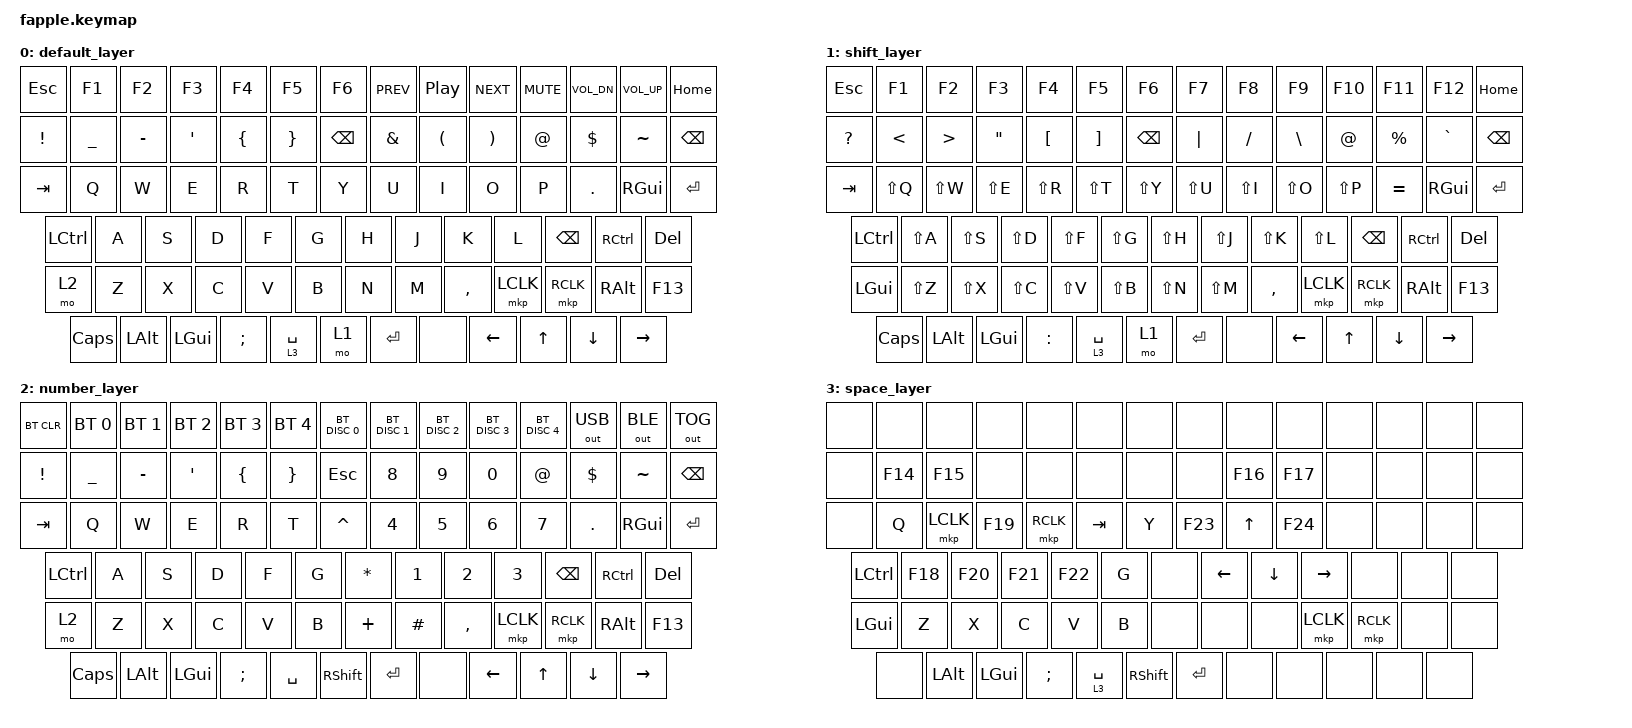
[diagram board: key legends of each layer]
#include <behaviors.dtsi>
#include <dt-bindings/zmk/keys.h>
#include <dt-bindings/zmk/bt.h>
#include <dt-bindings/zmk/outputs.h>
#include <dt-bindings/zmk/mouse.h>

&lt {
    tapping-term-ms = <300>;
};
/ {
    keymap {
        compatible = "zmk,keymap";

        default_layer {
            bindings = <
&kp ESC	&kp F1	&kp F2	&kp F3	&kp F4	&kp F5	&kp F6	&kp C_PREV	&kp C_PLAY_PAUSE	&kp C_NEXT	&kp C_MUTE	 &kp C_VOL_DN	&kp C_VOL_UP		&kp HOME
&kp EXCL	&kp UNDERSCORE	&kp MINUS	&kp APOS	&kp LBRC	&kp RBRC	&kp BACKSPACE	&kp AMPS	&kp LPAR	&kp RPAR	&kp AT	&kp DLLR	&kp TILDE	&kp BACKSPACE
&kp TAB	&kp Q	&kp W	&kp E	&kp R	&kp T	&kp Y	&kp U	&kp I	&kp O	&kp P	&kp DOT	&kp RGUI	&kp ENTER
&kp LCTRL	&kp A	&kp S	&kp D	&kp F	&kp G	&kp H	&kp J	&kp K	&kp L	&kp BACKSPACE	&kp RCTRL	&kp DELETE	
&mo 2	&kp Z	&kp X	&kp C	&kp V	&kp B	&kp N	&kp M	&kp COMMA	&mkp LCLK	&mkp RCLK	&kp RALT		&kp F13
&kp CAPS	&kp LALT	&kp LGUI	&kp SEMI	&lt 3 SPACE			 &mo 1	&kp ENTER	&none	&kp LEFT_ARROW	&kp UP_ARROW	&kp DOWN_ARROW	&kp RIGHT_ARROW
            >;
        };
        
        shift_layer {
            bindings = <
&kp ESC	&kp F1	&kp F2	&kp F3	&kp F4	&kp F5	&kp F6	&kp F7	&kp F8	&kp F9	&kp F10	 &kp F11	&kp F12		&kp HOME
&kp QMARK	&kp LT	&kp GT	&kp DQT	&kp LBKT	&kp RBKT	&kp BACKSPACE	&kp PIPE	&kp FSLH	&kp BSLH	&kp AT	&kp PRCNT	&kp GRAVE	&kp BACKSPACE
&kp TAB	&kp LS(Q)	&kp LS(W)	&kp LS(E)	&kp LS(R)	&kp LS(T)	&kp LS(Y)	&kp LS(U)	&kp LS(I)	&kp LS(O)	&kp LS(P)	&kp EQUAL	&kp RGUI	&kp ENTER
&kp LCTRL	&kp LS(A)	&kp LS(S)	&kp LS(D)	&kp LS(F)	&kp LS(G)	&kp LS(H)	&kp LS(J)	&kp LS(K)	&kp LS(L)	&kp BACKSPACE	&kp RCTRL	&kp DELETE	
&kp LGUI	&kp LS(Z)	&kp LS(X)	&kp LS(C)	&kp LS(V)	&kp LS(B)	&kp LS(N)	&kp LS(M)	&kp COMMA	&mkp LCLK	&mkp RCLK	&kp RALT		&kp F13
&kp CAPS	&kp LALT	&kp LGUI	&kp COLON	&lt 3 SPACE			 &mo 1	&kp ENTER	&none	&kp LEFT_ARROW	&kp UP_ARROW	&kp DOWN_ARROW	&kp RIGHT_ARROW
            >;
        };




		number_layer {
            bindings = <
&bt BT_CLR	&bt BT_SEL 0 	&bt BT_SEL 1 	&bt BT_SEL 2 	&bt BT_SEL 3	&bt BT_SEL 4	&bt BT_DISC 0	&bt BT_DISC 1	&bt BT_DISC 2	&bt BT_DISC 3	&bt BT_DISC 4 &out OUT_USB	&out OUT_BLE	&out OUT_TOG
&kp EXCL	&kp UNDERSCORE	&kp MINUS	&kp APOS	&kp LBRC	&kp RBRC	&kp ESC	&kp N8	&kp N9	&kp N0	&kp AT	&kp DLLR	&kp TILDE	&kp BACKSPACE
&kp TAB	&kp Q	&kp W	&kp E	&kp R	&kp T	&kp CARET	&kp N4	&kp N5	&kp N6	&kp N7	&kp DOT	&kp RGUI	&kp ENTER
&kp LCTRL	&kp A	&kp S	&kp D	&kp F	&kp G	&kp STAR	&kp N1	&kp N2	&kp N3	&kp BACKSPACE	&kp RCTRL	&kp DELETE	
&mo 2	&kp Z	&kp X	&kp C	&kp V	&kp B	&kp PLUS	&kp HASH	&kp COMMA	&mkp LCLK	&mkp RCLK	&kp RALT		&kp F13
&kp CAPS	&kp LALT	&kp LGUI	&kp SEMI	&kp SPACE			 &kp RSHIFT	&kp ENTER	&none	&kp LEFT_ARROW	&kp UP_ARROW	&kp DOWN_ARROW	&kp RIGHT_ARROW
            >;
        };
        
        
		space_layer {
            bindings = <
&none	&none 	&none 	&none 	&none	&none	&none	&none	&none	&none	&none &none	&none	&none
&none	&kp F14	&kp F15 	&none	&none 	&none 	&none	&none 	&kp F16 	&kp F17	&none 	&none 	&none	&none
&none	&kp Q	&mkp LCLK	&kp F19	&mkp RCLK	&kp TAB	&kp Y	&kp F23	&kp UP_ARROW	&kp F24	&none	&none	&none	&none
&kp LCTRL	&kp F18	&kp F20	&kp F21 &kp F22	&kp G	&none	&kp LEFT_ARROW	&kp DOWN_ARROW	&kp RIGHT_ARROW	&none	&none	&none
&kp LGUI	&kp Z	&kp X	&kp C	&kp V	&kp B	&none	&none	&none	&mkp LCLK	&mkp RCLK	&none		&none
&none	&kp LALT	&kp LGUI	&kp SEMI	&lt 3 SPACE			&kp RSHIFT	&kp ENTER	&none	&none	&none	&none	&none
            >;
        };
        
        
    };
};

